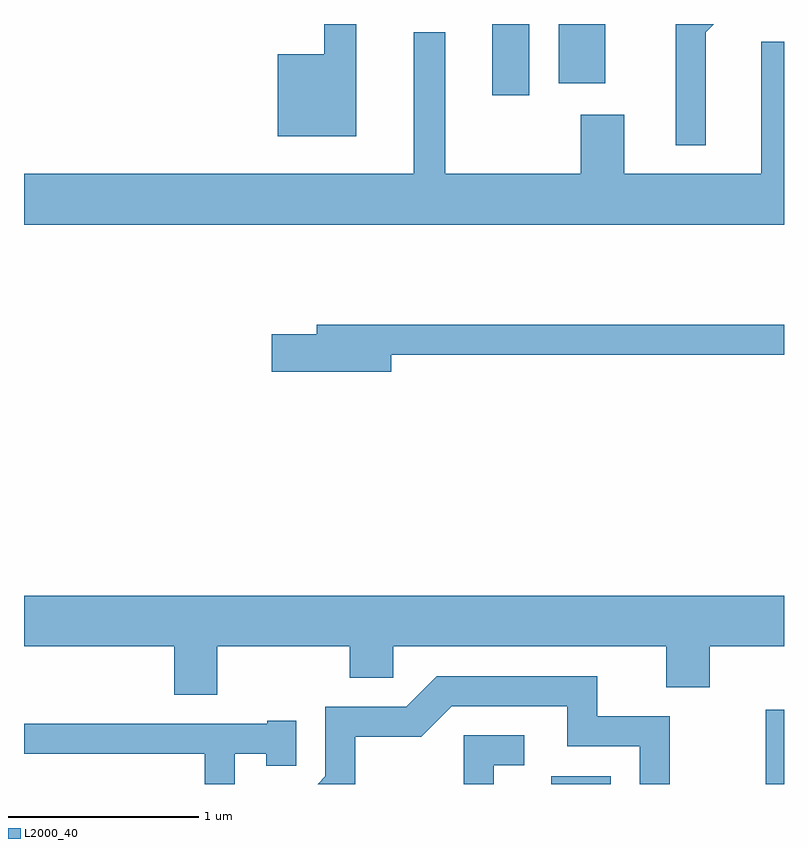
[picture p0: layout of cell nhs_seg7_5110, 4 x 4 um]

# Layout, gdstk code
import gdstk
lib = gdstk.Library(unit=1e-6, precision=1e-09)
def R(c, l, rs):  # rectangles x0, y0, x1, y1
    for r in rs: c.add(gdstk.rectangle(r[:2], r[2:], *l))
def P(c, l, *ps):  # polygons
    for p in ps: c.add(gdstk.Polygon(p, *l))
L2000_40 = (2000, 40)

nhs_seg7_5110 = lib.new_cell('nhs_seg7_5110')
R(nhs_seg7_5110, L2000_40, [(344.386,1720.252,344.699,1720.294), (345.516,1720.252,345.611,1720.644), (344.076,1723.876,344.269,1724.252), (344.426,1723.941,344.669,1724.252)])
P(nhs_seg7_5110, L2000_40, [(345.199,1724.209),(345.242,1724.252),(345.041,1724.252),(345.041,1723.613),(345.199,1723.613)],
  [(343.359,1724.252),(343.191,1724.252),(343.191,1724.094),(342.946,1724.094),(342.946,1723.661),(343.359,1723.661)],
  [(345.611,1724.159),(345.491,1724.159),(345.491,1723.464),(344.769,1723.464),(344.769,1723.774),(344.541,1723.774),(344.541,1723.464),(343.829,1723.464),(343.829,1724.208),(343.661,1724.208),(343.661,1723.464),(341.611,1723.464),(341.611,1723.196),(345.611,1723.196)],
  [(343.544,1722.511),(345.611,1722.511),(345.611,1722.669),(343.151,1722.669),(343.151,1722.619),(342.916,1722.619),(342.916,1722.421),(343.544,1722.421)],
  [(342.629,1720.976),(343.326,1720.976),(343.326,1720.811),(343.554,1720.811),(343.554,1720.976),(344.991,1720.976),(344.991,1720.761),(345.219,1720.761),(345.219,1720.976),(345.611,1720.976),(345.611,1721.244),(341.611,1721.244),(341.611,1720.976),(342.401,1720.976),(342.401,1720.721),(342.629,1720.721)],
  [(343.354,1720.501),(343.702,1720.501),(343.862,1720.661),(344.471,1720.661),(344.471,1720.451),(344.851,1720.451),(344.851,1720.252),(345.009,1720.252),(345.009,1720.609),(344.629,1720.609),(344.629,1720.819),(343.784,1720.819),(343.624,1720.659),(343.196,1720.659),(343.196,1720.292),(343.156,1720.252),(343.354,1720.252)],
  [(342.719,1720.411),(342.886,1720.411),(342.886,1720.348),(343.044,1720.348),(343.044,1720.584),(342.89,1720.584),(342.89,1720.569),(341.611,1720.569),(341.611,1720.411),(342.561,1720.411),(342.561,1720.252),(342.719,1720.252)],
  [(344.084,1720.351),(344.243,1720.351),(344.243,1720.509),(343.926,1720.509),(343.926,1720.252),(344.084,1720.252)])

lib.write_gds('nhs_seg7_5110.gds')
